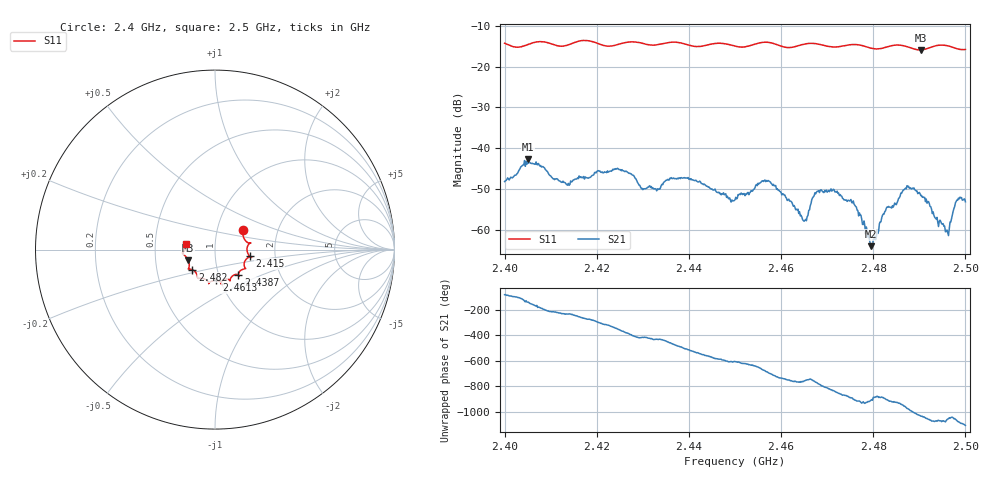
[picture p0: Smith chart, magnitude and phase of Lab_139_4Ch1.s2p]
# Hz S RI R 50
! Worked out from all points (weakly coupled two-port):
!   601 points, 2.4 GHz to 2.5 GHz, reference 50 ohm
!   highest |S21| = -42.72 dB at 2.405 GHz (marker M1); lowest = -64.1 dB at 2.4795 GHz (marker M2)
!   lowest |S11| = -15.9 dB at 2.4903 GHz (marker M3), VSWR 1.38, Z = 36.8 - j4.48 ohm
!   |S11| at or under -10 dB: start of sweep to end of sweep
!   S12 and S22 are empty: the file has one direction only
!   S11 on the Smith chart (normalised r, x): 2.4 GHz: 1.33, +0.31; 2.415 GHz: 1.47, -0.11; 2.4387 GHz: 1.24, -0.36; 2.4613 GHz: 0.96, -0.34; 2.482 GHz: 0.76, -0.17; 2.5 GHz: 0.72, +0.05
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2.4e9  0.1579 0.112  0.000582 -0.00383  0 0  0 0
2.405e9  0.1825 0.0391  -0.00556 -0.00475  0 0  0 0
2.415e9  0.1924 -0.0358  -0.0019 0.0036  0 0  0 0
2.416667e9  0.2037 -0.0436  -0.000658 0.00429  0 0  0 0
2.424667e9  0.1629 -0.0927  0.00553 0.000578  0 0  0 0
2.433333e9  0.1322 -0.1313  0.000861 -0.00298  0 0  0 0
2.438667e9  0.1308 -0.1414  -0.00316 -0.00286  0 0  0 0
2.45e9  0.0689 -0.1648  -0.000923 0.00213  0 0  0 0
2.456833e9  0.0384 -0.1954  0.00331 0.00223  0 0  0 0
2.461333e9  0.00745 -0.1713  0.00197 -0.00113  0 0  0 0
2.465e9  -0.0333 -0.1854  0.000999 -0.000778  0 0  0 0
2.466667e9  -0.0349 -0.19  0.00201 -0.00117  0 0  0 0
2.471e9  -0.0538 -0.1661  -0.000911 -0.00282  0 0  0 0
2.475167e9  -0.0935 -0.1609  -0.00231 -0.000319  0 0  0 0
2.4795e9  -0.1033 -0.1331  -0.000619 8.49e-05  0 0  0 0
2.482e9  -0.1258 -0.1118  -0.00146 -0.000298  0 0  0 0
2.483333e9  -0.1395 -0.1087  -0.00188 0.000411  0 0  0 0
2.487167e9  -0.1454 -0.1008  -0.00122 0.00291  0 0  0 0
2.490333e9  -0.1491 -0.0593  0.00184 0.00185  0 0  0 0
2.496e9  -0.1799 -0.0171  0.000936 0.000307  0 0  0 0
2.498333e9  -0.1648 0.00413  0.00229 0.000157  0 0  0 0
2.5e9  -0.1593 0.0327  0.00194 -0.00101  0 0  0 0
